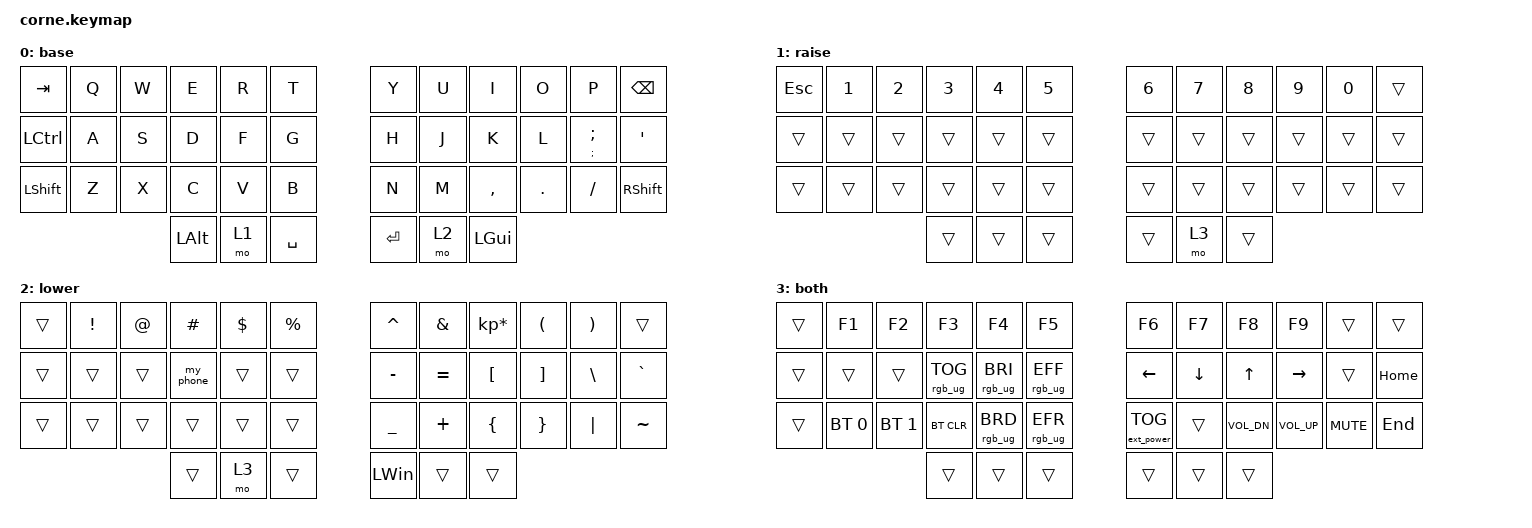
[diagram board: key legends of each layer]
/*
 * Copyright (c) 2020 The ZMK Contributors
 *
 * SPDX-License-Identifier: MIT
 */

#include <behaviors.dtsi>
#include <dt-bindings/zmk/bt.h>
#include <dt-bindings/zmk/ext_power.h>
#include <dt-bindings/zmk/keys.h>
#include <dt-bindings/zmk/rgb.h>

// dt-formatter: indent = "  "
// dt-formatter: reindentMultilineIntegerCells = "dedent"

/ {
  behaviors {
    hm: homerow_mods {
      compatible = "zmk,behavior-hold-tap";
      label = "HOMEROW_MODS";
      #binding-cells = <2>;
      tapping-term-ms = <150>;
      quick-tap-ms = <0>;
      flavor = "tap-preferred";
      bindings = <&kp>, <&kp>;
    };
  };

  combos { compatible = "zmk,combos"; };

  macros {
    my_phone: my_phone {
      compatible = "zmk,behavior-macro";
      label = "MY_PHONE";
      #binding-cells = <0>;
      bindings = <&kp N1 &kp N2 &kp N3 &kp N4 &kp N5>;
    };
  };

  keymap {
    compatible = "zmk,keymap";

    base {
      bindings = <
&kp TAB    &kp Q  &kp W  &kp E         &kp R  &kp T        &kp Y      &kp U  &kp I      &kp O    &kp P          &kp BACKSPACE
&kp LCTRL  &kp A  &kp S  &kp D         &kp F  &kp G        &kp H      &kp J  &kp K      &kp L    &hm SEMI SEMI  &kp APOS
&kp LSHFT  &kp Z  &kp X  &kp C         &kp V  &kp B        &kp N      &kp M  &kp COMMA  &kp DOT  &kp FSLH       &kp RIGHT_SHIFT
                         &kp LEFT_ALT  &mo 1  &kp SPACE    &kp ENTER  &mo 2  &kp LGUI
      >;
    };

    raise {
      bindings = <
&kp ESC  &kp N1  &kp N2  &kp N3  &kp N4  &kp N5    &kp N6  &kp N7  &kp N8  &kp N9  &kp N0  &trans
&trans   &trans  &trans  &trans  &trans  &trans    &trans  &trans  &trans  &trans  &trans  &trans
&trans   &trans  &trans  &trans  &trans  &trans    &trans  &trans  &trans  &trans  &trans  &trans
                         &trans  &trans  &trans    &trans  &mo 3   &trans
      >;
    };

    lower {
      bindings = <
&trans  &kp EXCL  &kp AT  &kp HASH   &kp DLLR  &kp PRCNT    &kp CARET     &kp AMPS   &kp KP_MULTIPLY  &kp LPAR  &kp RPAR  &trans
&trans  &trans    &trans  &my_phone  &trans    &trans       &kp MINUS     &kp EQUAL  &kp LBKT         &kp RBKT  &kp BSLH  &kp GRAVE
&trans  &trans    &trans  &trans     &trans    &trans       &kp UNDER     &kp PLUS   &kp LBRC         &kp RBRC  &kp PIPE  &kp TILDE
                          &trans     &mo 3     &trans       &kp LEFT_WIN  &trans     &trans
      >;
    };

    both {
      bindings = <
&trans  &kp F1        &kp F2        &kp F3           &kp F4           &kp F5             &kp F6             &kp F7    &kp F8        &kp F9        &trans      &trans
&trans  &trans        &trans        &rgb_ug RGB_TOG  &rgb_ug RGB_BRI  &rgb_ug RGB_EFF    &kp LEFT           &kp DOWN  &kp UP        &kp RIGHT     &trans      &kp HOME
&trans  &bt BT_SEL 0  &bt BT_SEL 1  &bt BT_CLR       &rgb_ug RGB_BRD  &rgb_ug RGB_EFR    &ext_power EP_TOG  &trans    &kp C_VOL_DN  &kp C_VOL_UP  &kp C_MUTE  &kp END
                                    &trans           &trans           &trans             &trans             &trans    &trans
      >;
    };
  };
};
